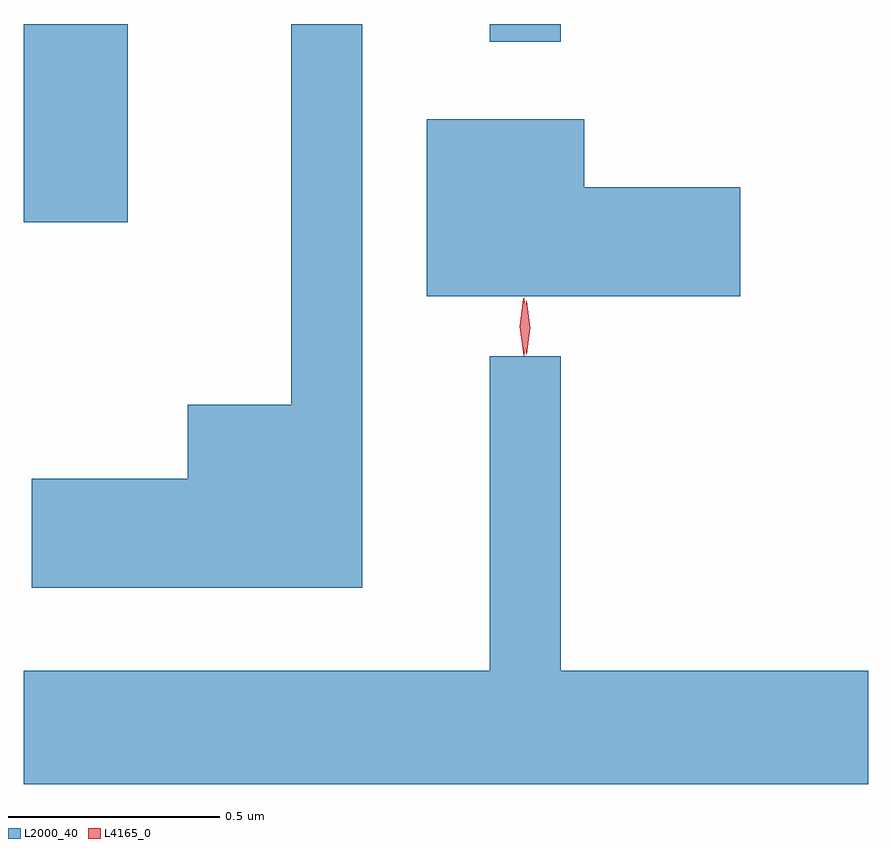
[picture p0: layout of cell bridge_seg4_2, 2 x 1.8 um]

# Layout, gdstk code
import gdstk
lib = gdstk.Library(unit=1e-6, precision=1e-09)
def R(c, l, rs):  # rectangles x0, y0, x1, y1
    for r in rs: c.add(gdstk.rectangle(r[:2], r[2:], *l))
def P(c, l, *ps):  # polygons
    for p in ps: c.add(gdstk.Polygon(p, *l))
L2000_40 = (2000, 40)
L4165_0 = (4165, 0)

bridge_seg4_2 = lib.new_cell('bridge_seg4_2')
R(bridge_seg4_2, L2000_40, [(1181.347,1387.086,1181.594,1387.555), (1182.451,1387.513,1182.619,1387.555)])
P(bridge_seg4_2, L2000_40, [(1182.149,1387.555),(1181.981,1387.555),(1181.981,1386.654),(1181.736,1386.654),(1181.736,1386.479),(1181.366,1386.479),(1181.366,1386.221),(1182.149,1386.221)],
  [(1183.044,1387.169),(1182.674,1387.169),(1182.674,1387.329),(1182.301,1387.329),(1182.301,1386.911),(1183.044,1386.911)],
  [(1183.347,1386.024),(1182.619,1386.024),(1182.619,1386.768),(1182.451,1386.768),(1182.451,1386.024),(1181.347,1386.024),(1181.347,1385.756),(1183.347,1385.756)])
P(bridge_seg4_2, L4165_0, [(1182.531,1386.77),(1182.522,1386.838),(1182.53,1386.906),(1182.531,1386.906),(1182.532,1386.906),(1182.541,1386.838),(1182.532,1386.77),(1182.532,1386.77)],
  [(1182.537,1386.773),(1182.537,1386.773),(1182.527,1386.836),(1182.537,1386.899),(1182.537,1386.9),(1182.538,1386.899),(1182.547,1386.836),(1182.538,1386.773)])

lib.write_gds('bridge_seg4_2.gds')
